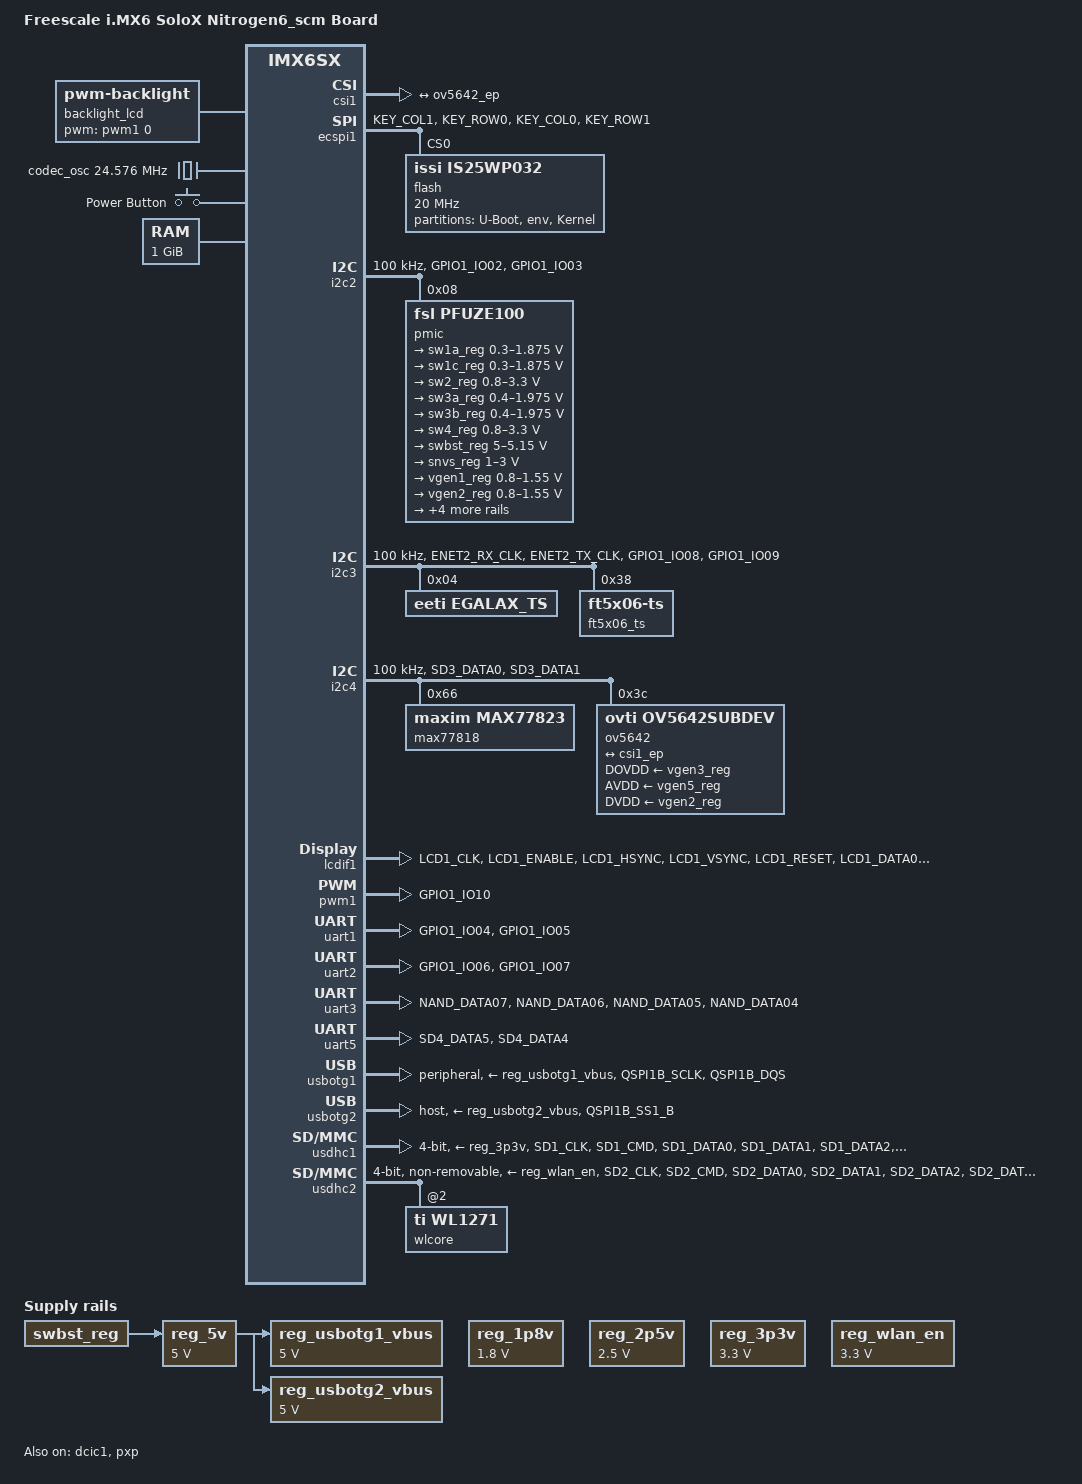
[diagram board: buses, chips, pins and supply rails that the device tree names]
/*
 * Copyright (C) 2014 Boundary Devices, Inc.
 *
 * This program is free software; you can redistribute it and/or modify
 * it under the terms of the GNU General Public License version 2 as
 * published by the Free Software Foundation.
 */

/dts-v1/;

#include <dt-bindings/gpio/gpio.h>
#include <dt-bindings/input/input.h>
#include "imx6sx.dtsi"

&iomuxc {
	pinctrl-names = "default";
	pinctrl-0 = <&pinctrl_hog>;

	iomuxc_nitrogen6_scm: iomuxc-nitrogen6_scmgrp {
		status = "okay";
	};
};

&iomuxc_nitrogen6_scm {
	pinctrl_bt_rfkill: bt-rfkillgrp {
		fsl,pins = <
#define GP_BT_RFKILL_RESET	<&gpio2 18 GPIO_ACTIVE_LOW>
			MX6SX_PAD_KEY_ROW3__GPIO2_IO_18		0x1b0b0
		>;
	};

	pinctrl_csi_ov5642: csi-ov5642grp {
		fsl,pins = <
			MX6SX_PAD_CSI_MCLK__CSI1_MCLK		0x110b0
			MX6SX_PAD_CSI_PIXCLK__CSI1_PIXCLK	0x110b0
			MX6SX_PAD_CSI_HSYNC__CSI1_HSYNC		0x110b0
			MX6SX_PAD_CSI_VSYNC__CSI1_VSYNC		0x110b0
			MX6SX_PAD_CSI_DATA00__CSI1_DATA_2	0x110b0
			MX6SX_PAD_CSI_DATA01__CSI1_DATA_3	0x110b0
			MX6SX_PAD_CSI_DATA02__CSI1_DATA_4	0x110b0
			MX6SX_PAD_CSI_DATA03__CSI1_DATA_5	0x110b0
			MX6SX_PAD_CSI_DATA04__CSI1_DATA_6	0x110b0
			MX6SX_PAD_CSI_DATA05__CSI1_DATA_7	0x110b0
			MX6SX_PAD_CSI_DATA06__CSI1_DATA_8	0x110b0
			MX6SX_PAD_CSI_DATA07__CSI1_DATA_9	0x110b0

#define GP_OV5642_RESET		<&gpio7 4 GPIO_ACTIVE_LOW>
			MX6SX_PAD_SD3_DATA2__GPIO7_IO_4		0x30b0
#define GP_OV5642_POWER_DOWN	<&gpio7 5 GPIO_ACTIVE_HIGH>
			MX6SX_PAD_SD3_DATA3__GPIO7_IO_5		0xb0b0
		>;
	};

	pinctrl_ecspi1: ecspi1grp {
		fsl,pins = <
			MX6SX_PAD_KEY_COL1__ECSPI1_MISO		0x100b1
			MX6SX_PAD_KEY_ROW0__ECSPI1_MOSI		0x100b1
			MX6SX_PAD_KEY_COL0__ECSPI1_SCLK		0x100b1
#define GP_ECSPI1_NOR_CS		<&gpio2 16 GPIO_ACTIVE_LOW>
			MX6SX_PAD_KEY_ROW1__GPIO2_IO_16		0x0b0b1
		>;
	};

	pinctrl_esai: esaigrp {
		fsl,pins = <
			MX6SX_PAD_NAND_WE_B__ESAI_TX5_RX0	0x130b1
			MX6SX_PAD_NAND_CE0_B__ESAI_TX_CLK	0x130b1
			MX6SX_PAD_NAND_READY_B__ESAI_TX1	0x130b1
			MX6SX_PAD_NAND_RE_B__ESAI_TX_FS		0x130b1
		>;
	};

	pinctrl_gpio_keys: gpio-keysgrp {
		fsl,pins = <
#define GP_GPIOKEY_POWER	<&gpio4 27 GPIO_ACTIVE_LOW>
			MX6SX_PAD_QSPI1B_DATA3__GPIO4_IO_27	0x1b0b0
		>;
	};

	pinctrl_gpio_poweroff: gpio-poweroffgrp {
		fsl,pins = <
			/* gpio - output */
#define GP_POWER_OFF		<&gpio4 26 GPIO_ACTIVE_HIGH>
			MX6SX_PAD_QSPI1B_DATA2__GPIO4_IO_26	0x130b0
		>;
	};

	pinctrl_hog: hoggrp {
		fsl,pins = <
			/* Test points */
#define GP_TP16			<&gpio7 6 GPIO_ACTIVE_LOW>
			MX6SX_PAD_SD3_DATA4__GPIO7_IO_6	0x1b0b0
#define GP_TP17			<&gpio7 7 GPIO_ACTIVE_LOW>
			MX6SX_PAD_SD3_DATA5__GPIO7_IO_7	0x1b0b0
#define GP_TP18			<&gpio6 14 GPIO_ACTIVE_LOW>
			MX6SX_PAD_SD4_DATA0__GPIO6_IO_14	0x1b0b0
#define GP_TP19			<&gpio6 15 GPIO_ACTIVE_LOW>
			MX6SX_PAD_SD4_DATA1__GPIO6_IO_15	0x000b0
		>;
	};

	pinctrl_i2c2: i2c2grp {
		fsl,pins = <
			MX6SX_PAD_GPIO1_IO02__I2C2_SCL		0x4001b8b1
			MX6SX_PAD_GPIO1_IO03__I2C2_SDA		0x4001b8b1
		>;
	};

	pinctrl_i2c2_1: i2c2_1grp {
		fsl,pins = <
#define GP_I2C2_SCL	<&gpio1 2 GPIO_ACTIVE_HIGH>
			MX6SX_PAD_GPIO1_IO02__GPIO1_IO_2	0x4001b8b1
#define GP_I2C2_SDA	<&gpio1 3 GPIO_ACTIVE_HIGH>
			MX6SX_PAD_GPIO1_IO03__GPIO1_IO_3	0x4001b8b1
		>;
	};

	/* J4 */
	pinctrl_i2c3: i2c3grp {
		fsl,pins = <
			MX6SX_PAD_ENET2_RX_CLK__I2C3_SCL	0x4001b8b1
			MX6SX_PAD_ENET2_TX_CLK__I2C3_SDA	0x4001b8b1
#define GP_I2C3_J4_RESET	<&gpio1 8 GPIO_ACTIVE_LOW>
			MX6SX_PAD_GPIO1_IO08__GPIO1_IO_8	0x1b0b0
#define GPIRQ_I2C3_J4	<&gpio1 9 IRQ_TYPE_EDGE_FALLING>
#define GP_I2C3_J4	<&gpio1 9 GPIO_ACTIVE_LOW>
			MX6SX_PAD_GPIO1_IO09__GPIO1_IO_9	0x1b0b0
		>;
	};

	pinctrl_i2c3_1: i2c3_1grp {
		fsl,pins = <
#define GP_I2C3_SCL	<&gpio2 8 GPIO_ACTIVE_HIGH>
			MX6SX_PAD_ENET2_RX_CLK__GPIO2_IO_8	0x4001b8b1
#define GP_I2C3_SDA	<&gpio2 9 GPIO_ACTIVE_HIGH>
			MX6SX_PAD_ENET2_TX_CLK__GPIO2_IO_9	0x4001b8b1
		>;
	};

	pinctrl_i2c4: i2c4grp {
		fsl,pins = <
			MX6SX_PAD_SD3_DATA0__I2C4_SCL		0x4001b8b1
			MX6SX_PAD_SD3_DATA1__I2C4_SDA		0x4001b8b1
		>;
	};

	pinctrl_i2c4_1: i2c4_1grp {
		fsl,pins = <
#define GP_I2C4_SCL	<&gpio7 2 GPIO_ACTIVE_HIGH>
			MX6SX_PAD_SD3_DATA0__GPIO7_IO_2		0x4001b8b1
#define GP_I2C4_SDA	<&gpio7 3 GPIO_ACTIVE_HIGH>
			MX6SX_PAD_SD3_DATA1__GPIO7_IO_3		0x4001b8b1
		>;
	};

	pinctrl_i2c4a_max77818: i2c4a_max77818grp {
		fsl,pins = <
#define GPIRQ_MAX77818_INTB		<&gpio7 0 IRQ_TYPE_LEVEL_LOW>
			MX6SX_PAD_SD3_CLK__GPIO7_IO_0		0x1b0b0
#define GPIRQ_MAX77818_WCINOKB		<&gpio7 8 IRQ_TYPE_LEVEL_LOW>
			MX6SX_PAD_SD3_DATA6__GPIO7_IO_8		0x1b0b0
#define GPIRQ_MAX77818_INOKB		<&gpio7 9 IRQ_TYPE_LEVEL_LOW>
			MX6SX_PAD_SD3_DATA7__GPIO7_IO_9		0x1b0b0
		>;
	};

	pinctrl_lcdif1: lcdif1grp {
		fsl,pins = <
			MX6SX_PAD_LCD1_CLK__LCDIF1_CLK		0x4001b0b0
			MX6SX_PAD_LCD1_ENABLE__LCDIF1_ENABLE	0x4001b0b0
			MX6SX_PAD_LCD1_HSYNC__LCDIF1_HSYNC	0x4001b0b0
			MX6SX_PAD_LCD1_VSYNC__LCDIF1_VSYNC	0x4001b0b0
			MX6SX_PAD_LCD1_RESET__GPIO3_IO_27	0x4001b0b0
			MX6SX_PAD_LCD1_DATA00__LCDIF1_DATA_0	0x4001b0b0
			MX6SX_PAD_LCD1_DATA01__LCDIF1_DATA_1	0x4001b0b0
			MX6SX_PAD_LCD1_DATA02__LCDIF1_DATA_2	0x4001b0b0
			MX6SX_PAD_LCD1_DATA03__LCDIF1_DATA_3	0x4001b0b0
			MX6SX_PAD_LCD1_DATA04__LCDIF1_DATA_4	0x4001b0b0
			MX6SX_PAD_LCD1_DATA05__LCDIF1_DATA_5	0x4001b0b0
			MX6SX_PAD_LCD1_DATA06__LCDIF1_DATA_6	0x4001b0b0
			MX6SX_PAD_LCD1_DATA07__LCDIF1_DATA_7	0x4001b0b0
			MX6SX_PAD_LCD1_DATA08__LCDIF1_DATA_8	0x4001b0b0
			MX6SX_PAD_LCD1_DATA09__LCDIF1_DATA_9	0x4001b0b0
			MX6SX_PAD_LCD1_DATA10__LCDIF1_DATA_10	0x4001b0b0
			MX6SX_PAD_LCD1_DATA11__LCDIF1_DATA_11	0x4001b0b0
			MX6SX_PAD_LCD1_DATA12__LCDIF1_DATA_12	0x4001b0b0
			MX6SX_PAD_LCD1_DATA13__LCDIF1_DATA_13	0x4001b0b0
			MX6SX_PAD_LCD1_DATA14__LCDIF1_DATA_14	0x4001b0b0
			MX6SX_PAD_LCD1_DATA15__LCDIF1_DATA_15	0x4001b0b0
			MX6SX_PAD_LCD1_DATA16__LCDIF1_DATA_16	0x4001b0b0
			MX6SX_PAD_LCD1_DATA17__LCDIF1_DATA_17	0x4001b0b0
			MX6SX_PAD_LCD1_DATA18__LCDIF1_DATA_18	0x4001b0b0
			MX6SX_PAD_LCD1_DATA19__LCDIF1_DATA_19	0x4001b0b0
			MX6SX_PAD_LCD1_DATA20__LCDIF1_DATA_20	0x4001b0b0
			MX6SX_PAD_LCD1_DATA21__LCDIF1_DATA_21	0x4001b0b0
			MX6SX_PAD_LCD1_DATA22__LCDIF1_DATA_22	0x4001b0b0
			MX6SX_PAD_LCD1_DATA23__LCDIF1_DATA_23	0x4001b0b0
		>;
	};

	pinctrl_pwm1: pwm1grp {
		fsl,pins = <
			MX6SX_PAD_GPIO1_IO10__PWM1_OUT		0x110b0
		>;
	};

	pinctrl_reg_5v: reg-5vgrp {
		fsl,pins = <
#define GP_5V_BST_EN		<&gpio6 12 GPIO_ACTIVE_HIGH>
			MX6SX_PAD_SD4_CLK__GPIO6_IO_12		0x1b0b0
			>;
		};

	pinctrl_reg_wlan: reg-wlangrp {
		fsl,pins = <
#define GP_WLAN_EN	<&gpio2 13 GPIO_ACTIVE_HIGH>
			MX6SX_PAD_KEY_COL3__GPIO2_IO_13		0x1b0b0
			MX6SX_PAD_GPIO1_IO11__CCM_CLKO1		0x000b0
		>;
	};

	pinctrl_uart1: uart1grp {
		fsl,pins = <
			MX6SX_PAD_GPIO1_IO04__UART1_TX		0x1b0b1
			MX6SX_PAD_GPIO1_IO05__UART1_RX		0x1b0b1
		>;
	};

	pinctrl_uart2: uart2grp {
		fsl,pins = <
			MX6SX_PAD_GPIO1_IO06__UART2_TX		0x1b0b1
			MX6SX_PAD_GPIO1_IO07__UART2_RX		0x1b0b1
		>;
	};

	pinctrl_uart3: uart3grp {
		fsl,pins = <
			MX6SX_PAD_NAND_DATA07__UART3_TX		0x1b0b1
			MX6SX_PAD_NAND_DATA06__UART3_RX		0x1b0b1
			MX6SX_PAD_NAND_DATA05__UART3_CTS_B	0x1b0b1
			MX6SX_PAD_NAND_DATA04__UART3_RTS_B	0x1b0b1
		>;
	};

	pinctrl_uart5: uart5grp {
		fsl,pins = <
			MX6SX_PAD_SD4_DATA5__UART5_TX		0x1b0b1
			MX6SX_PAD_SD4_DATA4__UART5_RX		0x1b0b1
		>;
	};

	pinctrl_usbotg1: usbotg1grp {
		fsl,pins = <
			MX6SX_PAD_QSPI1B_SCLK__GPIO4_IO_29	0x1b0b0
			MX6SX_PAD_QSPI1B_DQS__GPIO4_IO_28	0x1b0b1
		>;
	};

	pinctrl_usbotg1_vbus: usbotg1-vbusgrp {
		fsl,pins = <
#define GP_USB_OTG1_PWR			<&gpio4 24 GPIO_ACTIVE_HIGH>
			MX6SX_PAD_QSPI1B_DATA0__GPIO4_IO_24	0x030b0
		>;
	};

	pinctrl_usbotg2: usbotg2grp {
		fsl,pins = <
			MX6SX_PAD_QSPI1B_SS1_B__GPIO4_IO_31	0x1b0b0
		>;
	};

	pinctrl_usbotg2_vbus: usbotg2-vbusgrp {
		fsl,pins = <
#define GP_USB_OTG2_PWR			<&gpio4 25 GPIO_ACTIVE_HIGH>
			MX6SX_PAD_QSPI1B_DATA1__GPIO4_IO_25	0x030b0
		>;
	};

	/* microSD */
	pinctrl_usdhc1_50mhz: usdhc1-50mhzgrp {
		fsl,pins = <
			MX6SX_PAD_SD1_CLK__USDHC1_CLK		0x10071
			MX6SX_PAD_SD1_CMD__USDHC1_CMD		0x17071
			MX6SX_PAD_SD1_DATA0__USDHC1_DATA0	0x17071
			MX6SX_PAD_SD1_DATA1__USDHC1_DATA1	0x17071
			MX6SX_PAD_SD1_DATA2__USDHC1_DATA2	0x17071
			MX6SX_PAD_SD1_DATA3__USDHC1_DATA3	0x17071
#define GP_USDHC1_CD			<&gpio4 30 GPIO_ACTIVE_LOW>
			MX6SX_PAD_QSPI1B_SS0_B__GPIO4_IO_30	0x1b0b0
		>;
	};

	/* Wifi */
	pinctrl_usdhc2_50mhz: usdhc2-50mhzgrp {
		fsl,pins = <
			MX6SX_PAD_SD2_CLK__USDHC2_CLK		0x10071
			MX6SX_PAD_SD2_CMD__USDHC2_CMD		0x17071
			MX6SX_PAD_SD2_DATA0__USDHC2_DATA0	0x17071
			MX6SX_PAD_SD2_DATA1__USDHC2_DATA1	0x17071
			MX6SX_PAD_SD2_DATA2__USDHC2_DATA2	0x17071
			MX6SX_PAD_SD2_DATA3__USDHC2_DATA3	0x17071
		>;
	};

	pinctrl_usdhc2_100mhz: usdhc2-100mhzgrp {
		fsl,pins = <
			MX6SX_PAD_SD2_CLK__USDHC2_CLK		0x100b9
			MX6SX_PAD_SD2_CMD__USDHC2_CMD		0x170b9
			MX6SX_PAD_SD2_DATA0__USDHC2_DATA0	0x170b9
			MX6SX_PAD_SD2_DATA1__USDHC2_DATA1	0x170b9
			MX6SX_PAD_SD2_DATA2__USDHC2_DATA2	0x170b9
			MX6SX_PAD_SD2_DATA3__USDHC2_DATA3	0x170b9
		>;
	};

	pinctrl_usdhc2_200mhz: usdhc2-200mhzgrp {
		fsl,pins = <
			MX6SX_PAD_SD2_CLK__USDHC2_CLK		0x100f9
			MX6SX_PAD_SD2_CMD__USDHC2_CMD		0x170f9
			MX6SX_PAD_SD2_DATA0__USDHC2_DATA0	0x170f9
			MX6SX_PAD_SD2_DATA1__USDHC2_DATA1	0x170f9
			MX6SX_PAD_SD2_DATA2__USDHC2_DATA2	0x170f9
			MX6SX_PAD_SD2_DATA3__USDHC2_DATA3	0x170f9
		>;
	};

	pinctrl_usdhc2_wlan:wlangrp {
		fsl,pins = <
#define GPIRQ_WL1271 		<&gpio2 14 IRQ_TYPE_LEVEL_HIGH>
			MX6SX_PAD_KEY_COL4__GPIO2_IO_14		0x130b0
#define GP_WLAN_CLK_REQ		<&gpio2 12 GPIO_ACTIVE_HIGH>
			MX6SX_PAD_KEY_COL2__GPIO2_IO_12		0x130b0
#define GP_WLAN_QOW		<&gpio2 17 GPIO_ACTIVE_HIGH>
			MX6SX_PAD_KEY_ROW2__GPIO2_IO_17		0x130b0
#define GP_BT_HOST_WAKE		<&gpio1 13 GPIO_ACTIVE_HIGH>
			MX6SX_PAD_GPIO1_IO13__GPIO1_IO_13	0x130b0
		>;
	};
};

/ {
	model = "Freescale i.MX6 SoloX Nitrogen6_scm Board";
	compatible = "fsl,imx6sx-nitrogen6_scm", "fsl,imx6sx";

	aliases {
		fb_lcd = &lcdif1;
		lcd = &display0;
		mmc0 = &usdhc1;
		t_lcd = &t_lcd;
	};

	backlight_lcd {
		brightness-levels = <0 1 2 3 4 5 6 7 8 9 10>;
		compatible = "pwm-backlight";
		default-brightness-level = <8>;
		display = <&lcdif1>;
		pwms = <&pwm1 0 5000000>;
	};

	bt_rfkill {
		reset-gpios = GP_BT_RFKILL_RESET;
		compatible = "net,rfkill-gpio";
		name = "bt_rfkill";
		pinctrl-names = "default";
		pinctrl-0 = <&pinctrl_bt_rfkill>;
		type = <2>;     /* bluetooth */
		status = "okay";
	};

	clocks {
	        codec_osc: anaclk2 {
		        #clock-cells = <0>;
		        clock-frequency = <24576000>;
		        compatible = "fixed-clock";
		};
	};

	gpio-keys {
		compatible = "gpio-keys";
		pinctrl-names = "default";
		pinctrl-0 = <&pinctrl_gpio_keys>;

		power {
			label = "Power Button";
			gpios = GP_GPIOKEY_POWER;
			linux,code = <KEY_POWER>;	/* or KEY_SEARCH */
			gpio-key,wakeup;
		};
	};

	memory {
		reg = <0x80000000 0x40000000>;
	};

	poweroff: poweroff {
		compatible = "gpio-poweroff";
		gpios = GP_POWER_OFF;
		pinctrl-names = "default";
		pinctrl-0 = <&pinctrl_gpio_poweroff>;
	};

	pxp_v4l2_out {
		compatible = "fsl,imx6sx-pxp-v4l2", "fsl,imx6sl-pxp-v4l2";
		status = "okay";
	};

	regulators {
		compatible = "simple-bus";
		#address-cells = <1>;
		#size-cells = <0>;

		reg_1p8v: regulator@0 {
			compatible = "regulator-fixed";
			reg = <0>;
			regulator-always-on;
			regulator-min-microvolt = <1800000>;
			regulator-max-microvolt = <1800000>;
			regulator-name = "1P8V";
		};

		reg_2p5v: regulator@1 {
			compatible = "regulator-fixed";
			reg = <1>;
			regulator-always-on;
			regulator-min-microvolt = <2500000>;
			regulator-max-microvolt = <2500000>;
			regulator-name = "2P5V";
		};

		reg_3p3v: regulator@2 {
			compatible = "regulator-fixed";
			reg = <2>;
			regulator-always-on;
			regulator-min-microvolt = <3300000>;
			regulator-max-microvolt = <3300000>;
			regulator-name = "3P3V";
		};

		reg_5v: regulator@3 {
			compatible = "regulator-fixed";
			enable-active-high;
			gpio = GP_5V_BST_EN;
			pinctrl-names = "default";
			pinctrl-0 = <&pinctrl_reg_5v>;
			reg = <3>;
			regulator-min-microvolt = <5000000>;
			regulator-max-microvolt = <5000000>;
			regulator-name = "5V";
			vin-supply = <&swbst_reg>;
		};

		reg_usbotg1_vbus: regulator@4 {
			compatible = "regulator-fixed";
			enable-active-high;
			gpio = GP_USB_OTG1_PWR;
			pinctrl-names = "default";
			pinctrl-0 = <&pinctrl_usbotg1_vbus>;
			reg = <4>;
			regulator-min-microvolt = <5000000>;
			regulator-max-microvolt = <5000000>;
			regulator-name = "usb_otg1_vbus";
			vin-supply = <&reg_5v>;
		};

		reg_usbotg2_vbus: regulator@5 {
			compatible = "regulator-fixed";
			enable-active-high;
			gpio = GP_USB_OTG2_PWR;
			pinctrl-names = "default";
			pinctrl-0 = <&pinctrl_usbotg2_vbus>;
			reg = <5>;
			regulator-min-microvolt = <5000000>;
			regulator-max-microvolt = <5000000>;
			regulator-name = "usb_otg2_vbus";
			vin-supply = <&reg_5v>;
		};

		reg_wlan_en: regulator@6 {
			clocks = <&clks IMX6SX_CLK_CKO>;
			clock-names = "slow";
			compatible = "regulator-fixed";
			enable-active-high;
			gpio = GP_WLAN_EN;
			pinctrl-names = "default";
			pinctrl-0 = <&pinctrl_reg_wlan>;
			reg = <6>;
			regulator-min-microvolt = <3300000>;
			regulator-max-microvolt = <3300000>;
			regulator-name = "wlan-en";
			startup-delay-us = <70000>;
		};
	};
};

&clks {
	assigned-clocks = <&clks IMX6SX_PLL4_BYPASS_SRC>,
			  <&clks IMX6SX_PLL4_BYPASS>,
			  <&clks IMX6SX_CLK_CKO>,
			  <&clks IMX6SX_CLK_CKO1_SEL>,
			  <&clks IMX6SX_CLK_PLL4_POST_DIV>;
	assigned-clock-parents = <&clks IMX6SX_CLK_LVDS2_IN>,
				 <&clks IMX6SX_PLL4_BYPASS_SRC>,
				 <&clks IMX6SX_CLK_CKO1>,
				 <&clks IMX6SX_CLK_CKIL>;
	assigned-clock-rates = <0>, <0>, <0>, <0>, <24576000>;
};

&csi1 {
	status = "okay";

	port {
		csi1_ep: endpoint {
			remote-endpoint = <&ov5642_ep>;
		};
	};
};

&dcic1 {
	dcic_id = <0>;
	dcic_mux = "dcic-lcdif1";
	status = "okay";
};


&ecspi1 {
	fsl,spi-num-chipselects = <1>;
	cs-gpios = GP_ECSPI1_NOR_CS;
	pinctrl-names = "default";
	pinctrl-0 = <&pinctrl_ecspi1>;
	status = "okay";

	flash: is25wp032@0 {
		compatible = "issi,is25wp032";
		spi-max-frequency = <20000000>;
		reg = <0>;
		#address-cells = <1>;
		#size-cells = <1>;
		partition@0 {
			label = "U-Boot";
			reg = <0x0 0xC0000>;
			read-only;
		};
		partition@C0000 {
			label = "env";
			reg = <0xC0000 0x2000>;
			read-only;
		};
		partition@C2000 {
			label = "Kernel";
			reg = <0xC2000 0x13e000>;
		};
	};
};


&i2c2 {
	clock-frequency = <100000>;
	pinctrl-names = "default", "gpio";
	pinctrl-0 = <&pinctrl_i2c2>;
	pinctrl-1 = <&pinctrl_i2c2_1>;
	scl-gpios = GP_I2C2_SCL;
	sda-gpios = GP_I2C2_SDA;
	status = "okay";

	pmic: pfuze100@08 {
		compatible = "fsl,pfuze100";
		reg = <0x08>;

		regulators {
			sw1a_reg: sw1ab {
				regulator-min-microvolt = <300000>;
				regulator-max-microvolt = <1875000>;
				regulator-boot-on;
				regulator-always-on;
				regulator-ramp-delay = <6250>;
			};

			sw1c_reg: sw1c {
				regulator-min-microvolt = <300000>;
				regulator-max-microvolt = <1875000>;
				regulator-boot-on;
				regulator-always-on;
				regulator-ramp-delay = <6250>;
			};

			sw2_reg: sw2 {
				regulator-min-microvolt = <800000>;
				regulator-max-microvolt = <3300000>;
				regulator-boot-on;
				regulator-always-on;
			};

			sw3a_reg: sw3a {
				regulator-min-microvolt = <400000>;
				regulator-max-microvolt = <1975000>;
				regulator-boot-on;
				regulator-always-on;
			};

			sw3b_reg: sw3b {
				regulator-min-microvolt = <400000>;
				regulator-max-microvolt = <1975000>;
				regulator-boot-on;
				regulator-always-on;
			};

			sw4_reg: sw4 {
				regulator-min-microvolt = <800000>;
				regulator-max-microvolt = <3300000>;
			};

			swbst_reg: swbst {
				regulator-min-microvolt = <5000000>;
				regulator-max-microvolt = <5150000>;
			};

			snvs_reg: vsnvs {
				regulator-min-microvolt = <1000000>;
				regulator-max-microvolt = <3000000>;
				regulator-boot-on;
				regulator-always-on;
			};

			vref_reg: vrefddr {
				regulator-boot-on;
				regulator-always-on;
			};

			vgen1_reg: vgen1 {
				regulator-min-microvolt = <800000>;
				regulator-max-microvolt = <1550000>;
				regulator-always-on;
			};

			vgen2_reg: vgen2 {
				regulator-min-microvolt = <800000>;
				regulator-max-microvolt = <1550000>;
			};

			vgen3_reg: vgen3 {
				regulator-min-microvolt = <1800000>;
				regulator-max-microvolt = <3300000>;
				regulator-always-on;
			};

			vgen4_reg: vgen4 {
				regulator-min-microvolt = <1800000>;
				regulator-max-microvolt = <3300000>;
				regulator-always-on;
			};

			vgen5_reg: vgen5 {
				regulator-min-microvolt = <1800000>;
				regulator-max-microvolt = <3300000>;
				regulator-always-on;
			};

			vgen6_reg: vgen6 {
				regulator-min-microvolt = <1800000>;
				regulator-max-microvolt = <3300000>;
				regulator-always-on;
			};
		};
	};
};

&i2c3 {
        clock-frequency = <100000>;
	pinctrl-names = "default", "gpio";
	pinctrl-0 = <&pinctrl_i2c3>;
	pinctrl-1 = <&pinctrl_i2c3_1>;
	scl-gpios = GP_I2C3_SCL;
	sda-gpios = GP_I2C3_SDA;
	status = "okay";

        egalax_ts@04 {
                compatible = "eeti,egalax_ts";
                reg = <0x04>;
                interrupts-extended = GPIRQ_I2C3_J4;
                wakeup-gpios = GP_I2C3_J4;
        };

	ft5x06_ts@38 {
		compatible = "ft5x06-ts";
		reg = <0x38>;
                interrupts-extended = GPIRQ_I2C3_J4;
		wakeup-gpios = GP_I2C3_J4;
	};
};

&i2c4 {
	clock-frequency = <100000>;
	pinctrl-names = "default", "gpio";
	pinctrl-0 = <&pinctrl_i2c4>;
	pinctrl-1 = <&pinctrl_i2c4_1>;
	scl-gpios = GP_I2C4_SCL;
	sda-gpios = GP_I2C4_SDA;
	status = "okay";

	max77818@66 {
		compatible = "maxim,max77823";
		pinctrl-names = "default";
		pinctrl-0 = <&pinctrl_i2c4a_max77818>;
		reg = <0x66>;
		interrupts-extended = GPIRQ_MAX77818_INTB;
		max77823,irq-gpio = GPIRQ_MAX77818_INTB;
		max77823,wakeup = <1>;
		max77823_battery: battery {
			compatible = "samsung,sec-battery";
		};

		max77823_charger: charger {
			compatible = "samsung,max77823-charger";
		};

		max77823_fuelgauge: fuelgauge {
			compatible = "samsung,max77823-fuelgauge";
		};
	};

	ov5642: ov5642@3c {
		compatible = "ovti,ov5642subdev";
		reg = <0x3c>;
		pinctrl-names = "default";
		pinctrl-0 = <&pinctrl_csi_ov5642>;
		clocks = <&clks IMX6SX_CLK_CSI>;
		clock-names = "csi_mclk";
		DOVDD-supply = <&vgen3_reg>;	/* measured 1.7v */
		AVDD-supply = <&vgen5_reg>;	/* measured 2.7v */
		DVDD-supply = <&vgen2_reg>;	/* measured 1.5v, resistor not stuffed, optional */
		pwn-gpios = GP_OV5642_POWER_DOWN;
		rst-gpios = GP_OV5642_RESET;
		ipu_id = <0>;
		csi_id = <0>;
		mclk = <24000000>;
		mclk_source = <0>;
		port {
			ov5642_ep: endpoint {
				remote-endpoint = <&csi1_ep>;
			};
		};
	};
};

&lcdif1 {
	pinctrl-names = "default";
	pinctrl-0 = <&pinctrl_lcdif1>;
	lcd-supply = <&reg_3p3v>;
	display = <&display0>;
	status = "okay";

	display0: display0 {
		bits-per-pixel = <16>;
		bus-width = <24>;

		display-timings {
			t_lcd: t_lcd_default {
				/* 720p values may be changed in bootscript */
				clock-frequency = <74160000>;
				hactive = <1280>;
				vactive = <720>;
				hback-porch = <220>;
				hfront-porch = <110>;
				vback-porch = <20>;
				vfront-porch = <5>;
				hsync-len = <40>;
				vsync-len = <5>;
				hsync-active = <0>;
				vsync-active = <0>;
				de-active = <1>;
				pixelclk-active = <0>;
			};
		};
	};
};


&max77823_battery {
	status = "okay";
	battery,vendor = "SDI SDI";
	battery,charger_name = "max77823-charger";
	battery,fuelgauge_name = "max77823-fuelgauge";
	battery,technology = <2>; /* POWER_SUPPLY_TECHNOLOGY_LION */
	battery,bat_irq_attr = <0x3>;

	battery,chip_vendor = "QCOM";
	battery,temp_adc_type = <1>; /* SEC_BATTERY_ADC_TYPE_AP */

	battery,polling_time = <10 30 30 30 3600>;

	battery,adc_check_count = <6>;

	/* SEC_BATTERY_CABLE_CHECK_PSY | SEC_BATTERY_CABLE_CHECK_NOINCOMPATIBLECHARGE */
	battery,cable_check_type = <6>;
	battery,cable_source_type = <1>; /* SEC_BATTERY_CABLE_SOURCE_EXTERNAL */
	battery,event_check;
	battery,event_waiting_time = <600>;
	battery,polling_type = <1>; /* SEC_BATTERY_MONITOR_ALARM */
	battery,monitor_initial_count = <3>;

	battery,battery_check_type = <6>; /* SEC_BATTERY_CHECK_INT */
	battery,check_count = <0>;
	battery,check_adc_max = <1440>;
	battery,check_adc_min = <0>;

	battery,ovp_uvlo_check_type = <3>; /* SEC_BATTERY_OVP_UVLO_CHGPOLLING */

	battery,thermal_source = <0>; /* SEC_BATTERY_THERMAL_SOURCE_FG */

	battery,temp_check_type = <2>; /* _BATTERY_TEMP_CHECK_TEMP */
	battery,temp_check_count = <1>;
	battery,full_check_type = <7>; /* SEC_BATTERY_FULLCHARGED_CHGPSY */
	battery,full_check_type_2nd = <3>; /* SEC_BATTERY_FULLCHARGED_TIME */
	battery,full_check_count = <1>;
	battery,chg_gpio_full_check = <0>;
	battery,chg_polarity_full_check = <1>;

	/* SEC_BATTERY_FULL_CONDITION_SOC |
	   SEC_BATTERY_FULL_CONDITION_NOTIMEFULL |
	   SEC_BATTERY_FULL_CONDITION_VCELL */
	battery,full_condition_type = <13>;
	battery,full_condition_soc = <97>;
	battery,full_condition_vcell = <4350000>;

	battery,recharge_check_count = <1>;
	battery,recharge_condition_type = <4>; /* SEC_BATTERY_RECHARGE_CONDITION_VCELL */
	battery,recharge_condition_soc = <98>;
	battery,recharge_condition_vcell = <4350000>;

	battery,charging_total_time = <21600>;
	battery,recharging_total_time = <5400>;
	battery,charging_reset_time = <0>;
};

&max77823_charger {
	battery,charger_name = "max77823-charger";
	battery,chg_gpio_en = <0>;
	battery,chg_polarity_en = <0>;
	battery,chg_gpio_status = <0>;
	battery,chg_polarity_status = <0>;
	battery,chg_float_voltage = <4400>;
	battery,ovp_uvlo_check_type = <3>; /* SEC_BATTERY_OVP_UVLO_CHGPOLLING */
	battery,full_check_type = <7>; /* SEC_BATTERY_FULLCHARGED_CHGPSY */

	battery,input_current_limit    = <1800 460  460 4000  460  900 1000  460 460 1000  760 1800 1800 460 1300  300  700 1300 1800  300   80 1800 460 1000 1633 1000 1000 4000>;
	battery,fast_charging_current  = <2100   0  460 2100  460 1200 1000  460   0 1200  900 2100 2100   0 1300  300  700 1300 1800  300   80 2100   0 1000 2800 1000 1000 1000>;
	battery,full_check_current_1st = <200    0  200  200  200  200  200  200   0  200  200  200  200   0  200  200  200  200  200  200  200  200   0  200  200  200  200  200>;
	battery,full_check_current_2nd = <2400   0 2400 2400 2400 2400 2400 2400   0 2400 2400 2400 2400   0 2400 2400 2400 2400 2400 2400 2400 2400   0 2400 2400 2400 2400 2400>;
	usbotg-supply = <&reg_usbotg1_vbus>;
};

&max77823_fuelgauge {
	compatible = "samsung,max77823-fuelgauge";
	fuelgauge,capacity_max = <990>;
	fuelgauge,capacity_max_margin = <50>;
	fuelgauge,capacity_min = <0>;
	fuelgauge,capacity_calculation_type = <0x17>;
	fuelgauge,fuel_alert_soc = <1>;
	empty_detect_voltage = <2900>;
	empty_recovery_voltage = <3100>;
	/* fuelgauge,repeated_fuelalert; */
	temp-calibration = <0 (-6763) 9858>;
	/* if temp-calibration defined, temp-calibration-data not used */
	temp-calibration-data = <250 0x7cde
				 255 0x7c50
				 260 0x7aa0
				 265 0x792e
				 270 0x788e
				 275 0x7714
				 280 0x761a
				 285 0x7536
				 290 0x73ca
				 295 0x7326
				 300 0x726c
				 305 0x71cc
				 310 0x71b2
				 315 0x70a4
				 320 0x6f6a
				 325 0x6eae
				 330 0x6a2e
				 335 0x6800
				 340 0x673c
				 345 0x665a
				 350 0x65b4
				 355 0x6478
				 360 0x6318
				 365 0x6270
				 370 0x614e
				 375 0x5f56
				 380 0x5ed2
				 385 0x5d9e
				 390 0x5b38
				 395 0x5ae0
				 400 0x59ce
				 405 0x57b2
				 410 0x55f2
				 415 0x53c2
				 420 0x505a>;
};

&pwm1 {
	pinctrl-names = "default";
	pinctrl-0 = <&pinctrl_pwm1>;
	status = "okay";
};

&pxp {
	status = "okay";
};

&uart1 {
	pinctrl-names = "default";
	pinctrl-0 = <&pinctrl_uart1>;
	status = "okay";
};

&uart2 {
	pinctrl-names = "default";
	pinctrl-0 = <&pinctrl_uart2>;
	status = "okay";
};

&uart3 { /* for bluetooth */
	pinctrl-names = "default";
	pinctrl-0 = <&pinctrl_uart3>;
	uart-has-rtscts;
	status = "okay";
};

&uart5 {
	pinctrl-names = "default";
	pinctrl-0 = <&pinctrl_uart5>;
	status = "okay";
};

&usbotg1 {
	dr_mode = "peripheral";
	disable-over-current;
	pinctrl-names = "default";
	pinctrl-0 = <&pinctrl_usbotg1>;
	status = "okay";
	vbus-supply = <&reg_usbotg1_vbus>;
};

&usbotg2 {
	dr_mode = "host";
	disable-over-current;
	pinctrl-names = "default";
	pinctrl-0 = <&pinctrl_usbotg2>;
	status = "okay";
	vbus-supply = <&reg_usbotg2_vbus>;
};

&usdhc1 {
	pinctrl-names = "default";
	pinctrl-0 = <&pinctrl_usdhc1_50mhz>;
	bus-width = <4>;
	cd-gpios = GP_USDHC1_CD;
	keep-power-in-suspend;
	enable-sdio-wakeup;
	vmmc-supply = <&reg_3p3v>;
	status = "okay";
};

/* Silex */
&usdhc2 {
	pinctrl-names = "default", "state_100mhz", "state_200mhz";
	pinctrl-0 = <&pinctrl_usdhc2_50mhz>;
	pinctrl-1 = <&pinctrl_usdhc2_100mhz>;
	pinctrl-2 = <&pinctrl_usdhc2_200mhz>;
	bus-width = <4>;
	non-removable;
	keep-power-in-suspend;
	vmmc-supply = <&reg_wlan_en>;
	cap-power-off-card;
	cap-sdio-irq;
	vqmmc-1-8-v;
	status = "okay";

	#address-cells = <1>;
	#size-cells = <0>;
	wlcore: wlcore@2 {
		compatible = "ti,wl1271";
		interrupts-extended = GPIRQ_WL1271;
		pinctrl-names = "default";
		pinctrl-0 = <&pinctrl_usdhc2_wlan>;
		reg = <2>;
		ref-clock-frequency = <38400000>;
	};
};
